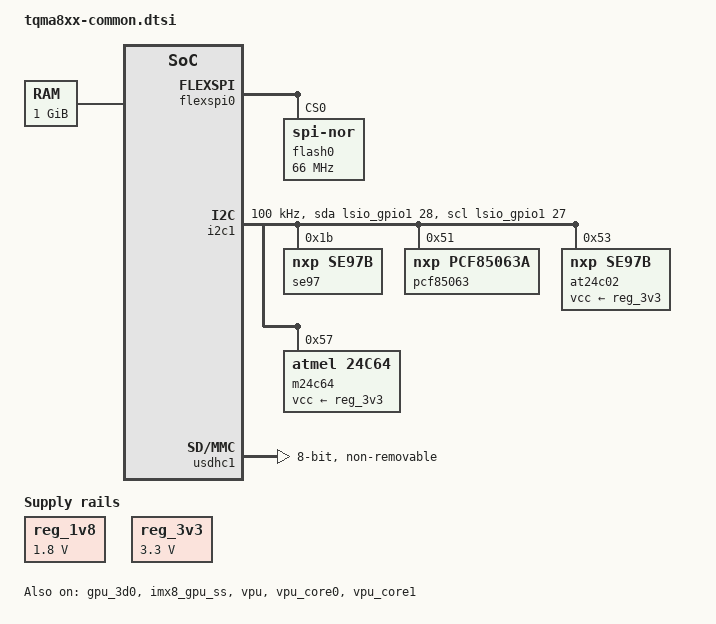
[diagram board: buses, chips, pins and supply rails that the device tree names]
// SPDX-License-Identifier: (GPL-2.0-or-later OR MIT)
/*
 * Copyright (c) 2018-2023 TQ-Systems GmbH <linux@ew.tq-group.com>,
 * D-82229 Seefeld, Germany.
 * Author: Alexander Stein
 */

/ {
	memory@80000000 {
		device_type = "memory";
		/*
		 * DRAM base addr, size : 1024 MiB DRAM
		 * should be corrected by bootloader
		 */
		reg = <0x00000000 0x80000000 0 0x40000000>;
	};

	reg_1v8: regulator-1v8 {
		compatible = "regulator-fixed";
		regulator-name = "V_1V8";
		regulator-min-microvolt = <1800000>;
		regulator-max-microvolt = <1800000>;
	};

	reg_3v3: regulator-3v3 {
		compatible = "regulator-fixed";
		regulator-name = "V_3V3";
		regulator-min-microvolt = <3300000>;
		regulator-max-microvolt = <3300000>;
	};

	reserved-memory {
		#address-cells = <2>;
		#size-cells = <2>;
		ranges;

		/*
		 * global autoconfigured region for contiguous allocations
		 * must not exceed memory size and region
		 */
		linux,cma {
			compatible = "shared-dma-pool";
			reusable;
			size = <0 0x20000000>;
			alloc-ranges = <0 0x96000000 0 0x30000000>;
			linux,cma-default;
		};

		decoder_boot: decoder-boot@84000000 {
			reg = <0 0x84000000 0 0x2000000>;
			no-map;
		};

		encoder_boot: encoder-boot@86000000 {
			reg = <0 0x86000000 0 0x200000>;
			no-map;
		};

		decoder_rpc: decoder-rpc@92000000 {
			reg = <0 0x92000000 0 0x100000>;
			no-map;
		};

		encoder_rpc: encoder-rpc@92200000 {
			reg = <0 0x92100000 0 0x700000>;
			no-map;
		};
	};
};

/* TQMa8Xx only uses industrial grade, reduce trip points accordingly */
&cpu_alert0 {
	temperature = <95000>;
};

&cpu_crit0 {
	temperature = <100000>;
};
/* end of temperature grade adjustments */

&flexspi0 {
	pinctrl-names = "default";
	pinctrl-0 = <&pinctrl_flexspi0>;
	status = "okay";

	flash0: flash@0 {
		compatible = "jedec,spi-nor";
		reg = <0>;
		#address-cells = <1>;
		#size-cells = <1>;
		spi-max-frequency = <66000000>;
		spi-tx-bus-width = <1>;
		spi-rx-bus-width = <4>;
	};
};

&gpu_3d0 {
	status = "okay";
};

&i2c1 {
	clock-frequency = <100000>;
	pinctrl-names = "default", "gpio";
	pinctrl-0 = <&pinctrl_lpi2c1>;
	pinctrl-1 = <&pinctrl_lpi2c1gpio>;
	scl-gpios = <&lsio_gpio1 27 (GPIO_ACTIVE_HIGH | GPIO_OPEN_DRAIN)>;
	sda-gpios = <&lsio_gpio1 28 (GPIO_ACTIVE_HIGH | GPIO_OPEN_DRAIN)>;
	status = "okay";

	/* NXP SE97BTP with temperature sensor + eeprom */
	se97: temperature-sensor@1b {
		compatible = "nxp,se97b", "jedec,jc-42.4-temp";
		reg = <0x1b>;
	};

	pcf85063: rtc@51 {
		compatible = "nxp,pcf85063a";
		reg = <0x51>;
		quartz-load-femtofarads = <7000>;
	};

	at24c02: eeprom@53 {
		compatible = "nxp,se97b", "atmel,24c02";
		reg = <0x53>;
		pagesize = <16>;
		read-only;
		vcc-supply = <&reg_3v3>;
	};

	m24c64: eeprom@57 {
		compatible = "atmel,24c64";
		reg = <0x57>;
		pagesize = <32>;
		vcc-supply = <&reg_3v3>;
	};
};

&imx8_gpu_ss {
	status = "okay";
};

&thermal_zones {
	pmic_thermal0: pmic-thermal0 {
		polling-delay-passive = <250>;
		polling-delay = <2000>;
		thermal-sensors = <&tsens IMX_SC_R_PMIC_0>;

		trips {
			pmic_alert0: trip0 {
				temperature = <110000>;
				hysteresis = <2000>;
				type = "passive";
			};

			pmic_crit0: trip1 {
				temperature = <125000>;
				hysteresis = <2000>;
				type = "critical";
			};
		};

		cooling-maps {
			map0 {
				trip = <&pmic_alert0>;
				cooling-device =
					<&A35_0 THERMAL_NO_LIMIT THERMAL_NO_LIMIT>,
					<&A35_1 THERMAL_NO_LIMIT THERMAL_NO_LIMIT>,
					<&A35_2 THERMAL_NO_LIMIT THERMAL_NO_LIMIT>,
					<&A35_3 THERMAL_NO_LIMIT THERMAL_NO_LIMIT>;
			};
		};
	};
};

&usdhc1 {
	pinctrl-names = "default", "state_100mhz", "state_200mhz";
	pinctrl-0 = <&pinctrl_usdhc1>;
	pinctrl-1 = <&pinctrl_usdhc1_100mhz>;
	pinctrl-2 = <&pinctrl_usdhc1_200mhz>;
	bus-width = <8>;
	non-removable;
	no-sdio;
	no-sd;
	status = "okay";
};

&vpu {
	compatible = "nxp,imx8qxp-vpu";
	status = "okay";
};

&vpu_core0 {
	reg = <0x2d040000 0x10000>;
	memory-region = <&decoder_boot>, <&decoder_rpc>;
	status = "okay";
};

&vpu_core1 {
	reg = <0x2d050000 0x10000>;
	memory-region = <&encoder_boot>, <&encoder_rpc>;
	status = "okay";
};

&iomuxc {
	pinctrl_flexspi0: flexspi0grp {
		fsl,pins = <
			IMX8QXP_QSPI0A_DATA0_LSIO_QSPI0A_DATA0	0x0600004d
			IMX8QXP_QSPI0A_DATA1_LSIO_QSPI0A_DATA1	0x0600004d
			IMX8QXP_QSPI0A_DATA2_LSIO_QSPI0A_DATA2	0x0600004d
			IMX8QXP_QSPI0A_DATA3_LSIO_QSPI0A_DATA3	0x0600004d
			IMX8QXP_QSPI0A_DQS_LSIO_QSPI0A_DQS	0x0600004d
			IMX8QXP_QSPI0A_SS0_B_LSIO_QSPI0A_SS0_B	0x0600004d
			IMX8QXP_QSPI0A_SCLK_LSIO_QSPI0A_SCLK	0x0600004d
		>;
	};

	pinctrl_lpi2c1: lpi2c1grp {
		fsl,pins = <
			IMX8QXP_MIPI_DSI0_GPIO0_00_ADMA_I2C1_SCL	0x06000021
			IMX8QXP_MIPI_DSI0_GPIO0_01_ADMA_I2C1_SDA	0x06000021
		>;
	};

	pinctrl_lpi2c1gpio: lpi2c1gpiogrp {
		fsl,pins = <
			IMX8QXP_MIPI_DSI0_GPIO0_00_LSIO_GPIO1_IO27	0x06000021
			IMX8QXP_MIPI_DSI0_GPIO0_01_LSIO_GPIO1_IO28	0x06000021
		>;
	};

	pinctrl_usdhc1: usdhc1grp {
		fsl,pins = <
			IMX8QXP_EMMC0_CLK_CONN_EMMC0_CLK	0x06000041
			IMX8QXP_EMMC0_CMD_CONN_EMMC0_CMD	0x00000021
			IMX8QXP_EMMC0_DATA0_CONN_EMMC0_DATA0	0x00000021
			IMX8QXP_EMMC0_DATA1_CONN_EMMC0_DATA1	0x00000021
			IMX8QXP_EMMC0_DATA2_CONN_EMMC0_DATA2	0x00000021
			IMX8QXP_EMMC0_DATA3_CONN_EMMC0_DATA3	0x00000021
			IMX8QXP_EMMC0_DATA4_CONN_EMMC0_DATA4	0x00000021
			IMX8QXP_EMMC0_DATA5_CONN_EMMC0_DATA5	0x00000021
			IMX8QXP_EMMC0_DATA6_CONN_EMMC0_DATA6	0x00000021
			IMX8QXP_EMMC0_DATA7_CONN_EMMC0_DATA7	0x00000021
			IMX8QXP_EMMC0_STROBE_CONN_EMMC0_STROBE	0x00000041
		>;
	};

	pinctrl_usdhc1_100mhz: usdhc1-100mhzgrp {
		fsl,pins = <
			IMX8QXP_EMMC0_CLK_CONN_EMMC0_CLK	0x06000040
			IMX8QXP_EMMC0_CMD_CONN_EMMC0_CMD	0x00000020
			IMX8QXP_EMMC0_DATA0_CONN_EMMC0_DATA0	0x00000020
			IMX8QXP_EMMC0_DATA1_CONN_EMMC0_DATA1	0x00000020
			IMX8QXP_EMMC0_DATA2_CONN_EMMC0_DATA2	0x00000020
			IMX8QXP_EMMC0_DATA3_CONN_EMMC0_DATA3	0x00000020
			IMX8QXP_EMMC0_DATA4_CONN_EMMC0_DATA4	0x00000020
			IMX8QXP_EMMC0_DATA5_CONN_EMMC0_DATA5	0x00000020
			IMX8QXP_EMMC0_DATA6_CONN_EMMC0_DATA6	0x00000020
			IMX8QXP_EMMC0_DATA7_CONN_EMMC0_DATA7	0x00000020
			IMX8QXP_EMMC0_STROBE_CONN_EMMC0_STROBE	0x00000040
		>;
	};

	pinctrl_usdhc1_200mhz: usdhc1-200mhzgrp {
		fsl,pins = <
			IMX8QXP_EMMC0_CLK_CONN_EMMC0_CLK	0x06000040
			IMX8QXP_EMMC0_CMD_CONN_EMMC0_CMD	0x00000020
			IMX8QXP_EMMC0_DATA0_CONN_EMMC0_DATA0	0x00000020
			IMX8QXP_EMMC0_DATA1_CONN_EMMC0_DATA1	0x00000020
			IMX8QXP_EMMC0_DATA2_CONN_EMMC0_DATA2	0x00000020
			IMX8QXP_EMMC0_DATA3_CONN_EMMC0_DATA3	0x00000020
			IMX8QXP_EMMC0_DATA4_CONN_EMMC0_DATA4	0x00000020
			IMX8QXP_EMMC0_DATA5_CONN_EMMC0_DATA5	0x00000020
			IMX8QXP_EMMC0_DATA6_CONN_EMMC0_DATA6	0x00000020
			IMX8QXP_EMMC0_DATA7_CONN_EMMC0_DATA7	0x00000020
			IMX8QXP_EMMC0_STROBE_CONN_EMMC0_STROBE	0x00000040
		>;
	};
};
